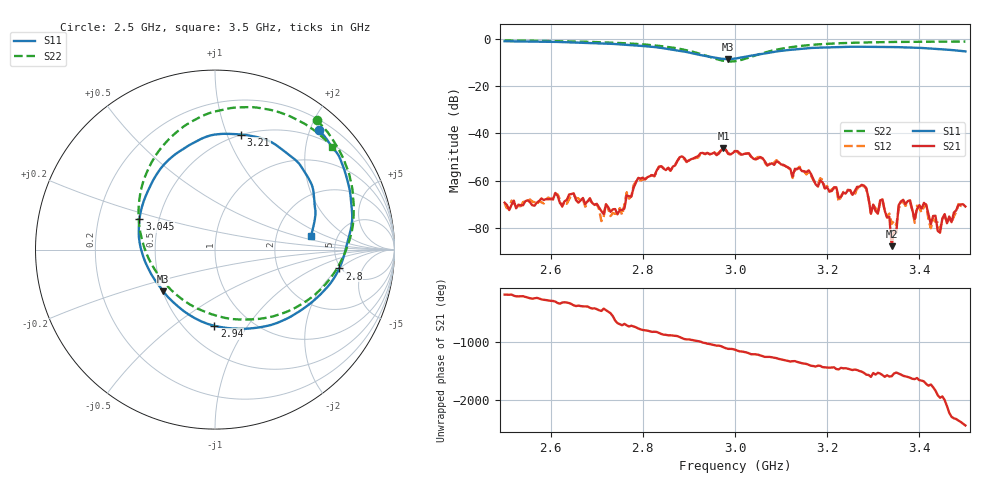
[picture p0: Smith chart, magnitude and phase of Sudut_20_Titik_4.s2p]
# Hz S RI R 50
! CMT, C1220, 16058040, 17.2.0/1
! Date: 15/08/2018 10:31:04
! Data: Format (Calibration Info)
! Freq  S11: Re/Im (F2)  S21: Re/Im (F2)  S12: Re/Im (F2)  S22: Re/Im (F2)
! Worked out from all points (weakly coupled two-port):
!   201 points, 2.5 GHz to 3.5 GHz, reference 50 ohm
!   highest |S21| = -46.21 dB at 2.975 GHz (marker M1); lowest = -87.5 dB at 3.34 GHz (marker M2)
!   lowest |S11| = -8.6 dB at 2.985 GHz (marker M3), VSWR 2.18, Z = 25.1 - j13.5 ohm
!   |S11| at or under -10 dB: nowhere
!   |S22| runs from -9.6 to -0.8 dB; largest |S21 - S12| = 0.00033
!   S11 on the Smith chart (normalised r, x): 2.5 GHz: 0.36, +2.15; 2.8 GHz: 4.81, -1.99; 2.94 GHz: 0.69, -0.71; 3.045 GHz: 0.39, +0.17; 3.21 GHz: 0.50, +1.12; 3.5 GHz: 3.18, +0.69
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2.5e9  0.5787 0.6658  -0.000344 -4.75e-05  -0.000333 -1.38e-05  0.5659 0.7217
2.67e9  0.7493 0.3378  0.000416 -0.00013  0.000377 -0.000146  0.7369 0.4509
2.71e9  0.7622 0.2252  -2.67e-05 -0.000229  4.02e-05 -0.000136  0.7623 0.3541
2.755e9  0.7471 0.0752  0.000236 6.09e-05  0.000188 2.88e-05  0.7729 0.2283
2.765e9  0.7382 0.0399  0.000482 0.000117  0.000561 0.000124  0.7725 0.1968
2.8e9  0.692 -0.1053  0.000449 -0.00108  0.000482 -0.000953  0.7549 0.0729
2.835e9  0.6057 -0.2309  -0.000984 -0.00174  -0.000869 -0.00176  0.7019 -0.0646
2.94e9  -0.00448 -0.4244  0.00229 0.00314  0.00222 0.00321  0.1747 -0.3894
2.975e9  -0.2345 -0.2915  0.00485 -0.000604  0.00468 -0.000653  -0.1018 -0.3271
2.985e9  -0.289 -0.2322  0.003 -0.00221  0.00321 -0.00204  -0.1754 -0.2824
3e9  -0.3555 -0.1367  0.00264 -0.00331  0.00248 -0.00349  -0.272 -0.1958
3.045e9  -0.4214 0.1708  -0.00188 -0.0021  -0.00196 -0.00221  -0.4229 0.1393
3.17e9  -0.0055 0.6402  0.000985 0.000456  0.000886 0.000528  -0.0775 0.7415
3.21e9  0.1453 0.6407  0.000609 -2.36e-05  0.000654 -0.000108  0.0682 0.7846
3.28e9  0.3496 0.576  -6.71e-05 -0.000795  -3.23e-05 -0.000767  0.2764 0.7839
3.295e9  0.385 0.5492  -0.000195 -5.5e-05  -0.000186 -9.44e-05  0.3139 0.7775
3.32e9  0.4395 0.5067  -0.000274 -0.000302  -0.000236 -0.000307  0.3718 0.7605
3.335e9  0.467 0.481  -0.000163 -6.39e-05  -0.000189 -7.82e-05  0.404 0.7486
3.34e9  0.475 0.4706  -3.74e-05 -1.9e-05  -0.00012 -2.88e-05  0.4142 0.7444
3.365e9  0.5114 0.4139  -0.000329 -0.000226  -0.000274 -0.000237  0.4618 0.7204
3.44e9  0.5574 0.2292  -4.81e-05 -7.37e-05  -6.15e-05 -0.000118  0.5804 0.6416
3.5e9  0.534 0.0774  9.66e-05 0.000272  0.000118 0.000254  0.6523 0.5731
